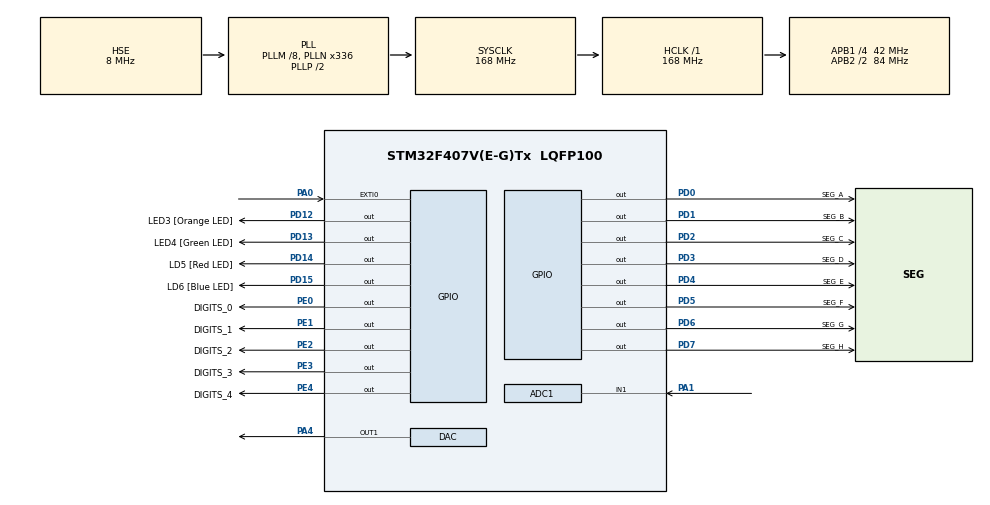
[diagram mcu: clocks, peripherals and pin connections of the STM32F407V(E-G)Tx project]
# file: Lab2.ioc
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ADC1.Channel-12\#ChannelRegularConversion=ADC_CHANNEL_1
ADC1.ClockPrescaler=ADC_CLOCK_SYNC_PCLK_DIV4
ADC1.ContinuousConvMode=DISABLE
ADC1.DMAContinuousRequests=DISABLE
ADC1.DataAlign=ADC_DATAALIGN_RIGHT
ADC1.DiscontinuousConvMode=DISABLE
ADC1.EOCSelection=ADC_EOC_SEQ_CONV
ADC1.EnableAnalogWatchDog=false
ADC1.ExternalTrigConv=ADC_SOFTWARE_START
ADC1.ExternalTrigConvEdge=ADC_EXTERNALTRIGCONVEDGE_NONE
ADC1.InjNumberOfConversion=0
ADC1.NbrOfConversion=1
ADC1.NbrOfConversionFlag=1
ADC1.Rank-12\#ChannelRegularConversion=1
ADC1.Resolution=ADC_RESOLUTION_12B
ADC1.SamplingTime-12\#ChannelRegularConversion=ADC_SAMPLETIME_480CYCLES
ADC1.ScanConvMode=DISABLE
ADC1.master=1
Dma.ADC1.0.Direction=DMA_PERIPH_TO_MEMORY
Dma.ADC1.0.FIFOMode=DMA_FIFOMODE_DISABLE
Dma.ADC1.0.Instance=DMA2_Stream0
Dma.ADC1.0.MemDataAlignment=DMA_MDATAALIGN_WORD
Dma.ADC1.0.MemInc=DMA_MINC_ENABLE
Dma.ADC1.0.Mode=DMA_CIRCULAR
Dma.ADC1.0.PeriphDataAlignment=DMA_PDATAALIGN_WORD
Dma.ADC1.0.PeriphInc=DMA_PINC_DISABLE
Dma.ADC1.0.Priority=DMA_PRIORITY_LOW
Dma.Request0=ADC1
Mcu.Family=STM32F4
Mcu.Name=STM32F407V(E-G)Tx
Mcu.Package=LQFP100
NVIC.ADC_IRQn=true\:0\:0\:false\:false\:true\:true
NVIC.DMA2_Stream0_IRQn=true\:0\:0\:false\:false\:true\:false
NVIC.EXTI0_IRQn=true\:0\:0\:false\:false\:true\:true
NVIC.PriorityGroup=NVIC_PRIORITYGROUP_4
NVIC.TIM2_IRQn=true\:1\:0\:true\:false\:true\:true
PA0-WKUP.Signal=GPXTI0
PA1.Signal=ADCx_IN1
PA4.Signal=COMP_DAC1_group
PD0.GPIO_Label=SEG_A
PD0.GPIO_Speed=GPIO_SPEED_FREQ_HIGH
PD0.PinState=GPIO_PIN_RESET
PD0.Signal=GPIO_Output
PD1.GPIO_Label=SEG_B
PD1.GPIO_Speed=GPIO_SPEED_FREQ_HIGH
PD1.Signal=GPIO_Output
PD12.GPIO_Label=LED3 [Orange LED]
PD12.Signal=GPIO_Output
PD13.GPIO_Label=LED4 [Green LED]
PD13.Signal=GPIO_Output
PD14.GPIO_Label=LD5 [Red LED]
PD14.Signal=GPIO_Output
PD15.GPIO_Label=LD6 [Blue LED]
PD15.Signal=GPIO_Output
PD2.GPIO_Label=SEG_C
PD2.GPIO_Speed=GPIO_SPEED_FREQ_HIGH
PD2.Signal=GPIO_Output
PD3.GPIO_Label=SEG_D
PD3.GPIO_Speed=GPIO_SPEED_FREQ_HIGH
PD3.Signal=GPIO_Output
PD4.GPIO_Label=SEG_E
PD4.GPIO_Speed=GPIO_SPEED_FREQ_HIGH
PD4.Signal=GPIO_Output
PD5.GPIO_Label=SEG_F
PD5.GPIO_Speed=GPIO_SPEED_FREQ_HIGH
PD5.Signal=GPIO_Output
PD6.GPIO_Label=SEG_G
PD6.GPIO_Speed=GPIO_SPEED_FREQ_HIGH
PD6.PinState=GPIO_PIN_RESET
PD6.Signal=GPIO_Output
PD7.GPIO_Label=SEG_H
PD7.GPIO_Speed=GPIO_SPEED_FREQ_HIGH
PD7.Signal=GPIO_Output
PE0.GPIO_Label=DIGITS_0
PE0.GPIO_Speed=GPIO_SPEED_FREQ_HIGH
PE0.PinState=GPIO_PIN_RESET
PE0.Signal=GPIO_Output
PE1.GPIO_Label=DIGITS_1
PE1.GPIO_Speed=GPIO_SPEED_FREQ_HIGH
PE1.Signal=GPIO_Output
PE2.GPIO_Label=DIGITS_2
PE2.GPIO_Speed=GPIO_SPEED_FREQ_HIGH
PE2.Signal=GPIO_Output
PE3.GPIO_Label=DIGITS_3
PE3.GPIO_Speed=GPIO_SPEED_FREQ_HIGH
PE3.Signal=GPIO_Output
PE4.GPIO_Label=DIGITS_4
PE4.GPIO_Speed=GPIO_SPEED_FREQ_HIGH
PE4.Signal=GPIO_Output
PH0-OSC_IN.Mode=HSE-External-Oscillator
PH0-OSC_IN.Signal=RCC_OSC_IN
PH1-OSC_OUT.Mode=HSE-External-Oscillator
PH1-OSC_OUT.Signal=RCC_OSC_OUT
ProjectManager.HeapSize=0x200
ProjectManager.StackSize=0x400
ProjectManager.TargetToolchain=MDK-ARM V5
RCC.48MHZClocksFreq_Value=84000000
RCC.AHBFreq_Value=168000000
RCC.APB1CLKDivider=RCC_HCLK_DIV4
RCC.APB1Freq_Value=42000000
RCC.APB1TimFreq_Value=84000000
RCC.APB2CLKDivider=RCC_HCLK_DIV2
RCC.APB2Freq_Value=84000000
RCC.APB2TimFreq_Value=168000000
RCC.CortexFreq_Value=168000000
RCC.HCLKFreq_Value=168000000
RCC.HSE_VALUE=8000000
RCC.HSI_VALUE=16000000
RCC.LSE_VALUE=32768
RCC.PLLM=8
RCC.PLLN=336
RCC.PLLSourceVirtual=RCC_PLLSOURCE_HSE
RCC.SYSCLKFreq_VALUE=168000000
RCC.SYSCLKSource=RCC_SYSCLKSOURCE_PLLCLK
RCC.VCOOutputFreq_Value=336000000
SH.ADCx_IN1.0=ADC1_IN1,IN1
SH.COMP_DAC1_group.0=DAC_OUT1,DAC_OUT1
TIM2.Period=500
TIM2.Prescaler=40000
VP_TIM2_VS_ClockSourceINT.Mode=Internal
board=Lab2

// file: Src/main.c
/**
  ******************************************************************************
  * @file           : main.c
  * @brief          : Main program body
  ******************************************************************************
  ** This notice applies to any and all portions of this file
  * that are not between comment pairs USER CODE BEGIN and
  * USER CODE END. Other portions of this file, whether
  * inserted by the user or by software development tools
  * are owned by their respective copyright owners.
  *
  * COPYRIGHT(c) 2018 STMicroelectronics
  *
  * Redistribution and use in source and binary forms, with or without modification,
  * are permitted provided that the following conditions are met:
  *   1. Redistributions of source code must retain the above copyright notice,
  *      this list of conditions and the following disclaimer.
  *   2. Redistributions in binary form must reproduce the above copyright notice,
  *      this list of conditions and the following disclaimer in the documentation
  *      and/or other materials provided with the distribution.
  *   3. Neither the name of STMicroelectronics nor the names of its contributors
  *      may be used to endorse or promote products derived from this software
  *      without specific prior written permission.
  *
  * THIS SOFTWARE IS PROVIDED BY THE COPYRIGHT HOLDERS AND CONTRIBUTORS "AS IS"
  * AND ANY EXPRESS OR IMPLIED WARRANTIES, INCLUDING, BUT NOT LIMITED TO, THE
  * IMPLIED WARRANTIES OF MERCHANTABILITY AND FITNESS FOR A PARTICULAR PURPOSE ARE
  * DISCLAIMED. IN NO EVENT SHALL THE COPYRIGHT HOLDER OR CONTRIBUTORS BE LIABLE
  * FOR ANY DIRECT, INDIRECT, INCIDENTAL, SPECIAL, EXEMPLARY, OR CONSEQUENTIAL
  * DAMAGES (INCLUDING, BUT NOT LIMITED TO, PROCUREMENT OF SUBSTITUTE GOODS OR
  * SERVICES; LOSS OF USE, DATA, OR PROFITS; OR BUSINESS INTERRUPTION) HOWEVER
  * CAUSED AND ON ANY THEORY OF LIABILITY, WHETHER IN CONTRACT, STRICT LIABILITY,
  * OR TORT (INCLUDING NEGLIGENCE OR OTHERWISE) ARISING IN ANY WAY OUT OF THE USE
  * OF THIS SOFTWARE, EVEN IF ADVISED OF THE POSSIBILITY OF SUCH DAMAGE.
  *
  ******************************************************************************
  */
#include "main.h"
#include "stm32f4xx_hal.h"

/* USER CODE BEGIN Includes */
#include <stdbool.h>
#ifndef DISPLAY_RMS
#include "heads_up_display.h"
#endif
/* USER CODE END Includes */

ADC_HandleTypeDef hadc1;
DMA_HandleTypeDef hdma_adc1;

DAC_HandleTypeDef hdac;

TIM_HandleTypeDef htim2;

/* USER CODE BEGIN PV */

const int ADC_BUFFER_SIZE = 50;

float filtered_ADCBuffer[ADC_BUFFER_SIZE];

// Buffer that holds Unfiltered data populated with DMA.
static uint32_t ADCBufferDMA[ADC_BUFFER_SIZE];

/* USER CODE END PV */

void SystemClock_Config(void);
static void MX_GPIO_Init(void);
static void MX_DMA_Init(void);
static void MX_DAC_Init(void);
static void MX_ADC1_Init(void);
static void MX_TIM2_Init(void);

/* USER CODE BEGIN PFP */
/* Private function prototypes -----------------------------------------------*/
typedef struct {
	float last_RMS;
	float past_mins[10];
	float past_maxs[10];
} PastResultsVector;

typedef struct {
	float rms;
	float max_value;
	float min_value;
	int max_index;
	int min_index;
} asm_output;

void adc_buffer_full_callback(void);
void FIR_C(int Input, float* Output);
void asm_math(float *inputValues, int size, asm_output *results);

/* USER CODE END PFP */

/* USER CODE BEGIN 0 */

static PastResultsVector past_ten_seconds_results;

float DigitalToAnalogValue(int digital_value){
	float AnalogVal = 3.0*(digital_value)/4095;
	return AnalogVal;
}
/*
This function is called once per second, when the buffer is full.
It should calculate what values should be displayed
*/
void adc_buffer_full_callback()
{
	extern float displayed_value;

	static int head;
	static int tail;

	asm_output last_second_results;
	float min, max, rms;

	int current;
	float temp_max;
	float temp_min;
	float min_last_10_secs;
	float max_last_10_secs;

	asm_math(filtered_ADCBuffer, ADC_BUFFER_SIZE, &last_second_results);
	min = last_second_results.min_value;
	max = last_second_results.max_value;
	rms = last_second_results.rms;

//	printf("Showing RMS: %.3f\n", rms);
//	printf("Showing MIN: %.3f\n", min);
//	printf("Showing MAX: %.3f\n", max);

	head = (head + 1) % 10; // Update the head.
	if(head == tail){ // Update the tail, if necessary.
		tail = (tail + 1) % 10;
	}
	past_ten_seconds_results.past_mins[head] = min; // write the new value in.
	past_ten_seconds_results.past_maxs[head] = max;
	past_ten_seconds_results.last_RMS = rms;

	//We have to calculate the min and max of the last 10 seconds.
	current = tail;
	min_last_10_secs = min;
	max_last_10_secs = max;

	// Loop through the array of past results, and find the min and max.
	while(current != head){
		// Update the Min.
		temp_min = past_ten_seconds_results.past_mins[current];
		min_last_10_secs = (temp_min < min_last_10_secs && temp_min != 0)? temp_min : min_last_10_secs;

		// Update the Max.
		temp_max = past_ten_seconds_results.past_maxs[current];
		max_last_10_secs = (temp_max > max_last_10_secs)? temp_max : max_last_10_secs;
		current = (current + 1) % 10;
	}

	float displayed_value_digital;
	// Update the display with the newly found values.
	switch(display_mode){
		case DISPLAY_RMS:
			// TODO:
			printf("Showing RMS: %.3f\n", rms);
			printf("Showing RMS: %.3f\n", DigitalToAnalogValue(rms));
			displayed_value_digital = rms;
//			displayed_value = 1.11f;
			break;
		case DISPLAY_MIN:
			// TODO:
			printf("Showing MIN: %.3f\n", min_last_10_secs);
		  printf("Showing MIN: %.3f\n", DigitalToAnalogValue(min_last_10_secs));
			displayed_value_digital = min_last_10_secs;
//			displayed_value = 2.22f;

			break;
		case DISPLAY_MAX:
			// TODO:
			printf("Showing MAX: %.3f\n", max_last_10_secs);
		  printf("Showing MAX: %.3f\n", DigitalToAnalogValue(max_last_10_secs));
 			displayed_value_digital = max_last_10_secs;
//			displayed_value = 3.33f;
			break;
	}
	displayed_value = DigitalToAnalogValue(displayed_value_digital);
}

void FIR_C(int Input, float* Output){

	//Idea: use the buffer like a circular queue.
	//- Add the element to the buffer, using the head pointer.
	//- Update tail accordingly
	//- iterate in the buffer, going from head to tail, and add up the results

	// Array of weights
	static float weights[5] = {0.2, 0.2, 0.2, 0.2, 0.2};
	// Buffer that will hold the values as they come in.
	static int buffer[5];
	static int head, tail = 0;

	int i;
	float result = 0.f;
	head = (head + 1) % 5; // Update the head.
	if(head == tail){ // Update the tail, if necessary.
		tail = (tail + 1) % 5;
	}
	buffer[head] = Input; // write the new value in.
	for(i=0; i<5; i++){
		// move backward from 'head' to 'tail', adding up the values.
		result += weights[i] * buffer[(head - i + 5) % 5];
	}
	*Output = result; // place the result at the given location.
}

void HAL_ADC_ConvHalfCpltCallback(ADC_HandleTypeDef* AdcHandle)
{
		//run energy frame over buffer 0 -> size/2
		//place start index when energy threshold is met
		printf("DMA Half CONV COMPLETE\n");
		//Run PCM on 1st half of ADCBuffer..

}

void HAL_ADC_ConvCpltCallback(ADC_HandleTypeDef* AdcHandle)
{
	if(AdcHandle->Instance == ADC1){
		// use the filter on each value in the raw buffer.
		for(int i=0; i < ADC_BUFFER_SIZE; i++){
			FIR_C(ADCBufferDMA[i], &filtered_ADCBuffer[i]);
		}
		adc_buffer_full_callback();
		HAL_ADC_Stop_DMA(&hadc1);
		HAL_ADC_Start_DMA(&hadc1, ADCBufferDMA, ADC_BUFFER_SIZE);
	}

}

/* USER CODE END 0 */

int main(void)
{

  /* MCU Configuration----------------------------------------------------------*/

  /* Reset of all peripherals, Initializes the Flash interface and the Systick. */
  HAL_Init();

  /* Configure the system clock */
  SystemClock_Config();

  /* Initialize all configured peripherals */
  MX_GPIO_Init();
  MX_DMA_Init();
  MX_DAC_Init();
  MX_ADC1_Init();
  MX_TIM2_Init();
  /* USER CODE BEGIN 2 */

	HAL_DAC_SetValue(&hdac, DAC_CHANNEL_1, DAC_ALIGN_12B_R, 2048);
	HAL_DAC_Start(&hdac, DAC_CHANNEL_1);

	HAL_ADC_Start_DMA(&hadc1,ADCBufferDMA, ADC_BUFFER_SIZE);

	SET_PIN(DIGITS_0);
	HAL_GPIO_WritePin(SEG_G_GPIO_Port, SEG_G_Pin, GPIO_PIN_SET);
	HAL_GPIO_WritePin(LED3_GPIO_Port, LED3_Pin, GPIO_PIN_SET);

  /* USER CODE END 2 */

  /* Infinite loop */
  while (1)
  {

  }

}

void SystemClock_Config(void)
{

  RCC_OscInitTypeDef RCC_OscInitStruct;
  RCC_ClkInitTypeDef RCC_ClkInitStruct;

    /**Configure the main internal regulator output voltage
    */
  __HAL_RCC_PWR_CLK_ENABLE();

  __HAL_PWR_VOLTAGESCALING_CONFIG(PWR_REGULATOR_VOLTAGE_SCALE1);

    /**Initializes the CPU, AHB and APB busses clocks
    */
  RCC_OscInitStruct.OscillatorType = RCC_OSCILLATORTYPE_HSE;
  RCC_OscInitStruct.HSEState = RCC_HSE_ON;
  RCC_OscInitStruct.PLL.PLLState = RCC_PLL_ON;
  RCC_OscInitStruct.PLL.PLLSource = RCC_PLLSOURCE_HSE;
  RCC_OscInitStruct.PLL.PLLM = 8;
  RCC_OscInitStruct.PLL.PLLN = 336;
  RCC_OscInitStruct.PLL.PLLP = RCC_PLLP_DIV2;
  RCC_OscInitStruct.PLL.PLLQ = 4;
  if (HAL_RCC_OscConfig(&RCC_OscInitStruct) != HAL_OK)
  {
    _Error_Handler(__FILE__, __LINE__);
  }

    /**Initializes the CPU, AHB and APB busses clocks
    */
  RCC_ClkInitStruct.ClockType = RCC_CLOCKTYPE_HCLK|RCC_CLOCKTYPE_SYSCLK
                              |RCC_CLOCKTYPE_PCLK1|RCC_CLOCKTYPE_PCLK2;
  RCC_ClkInitStruct.SYSCLKSource = RCC_SYSCLKSOURCE_PLLCLK;
  RCC_ClkInitStruct.AHBCLKDivider = RCC_SYSCLK_DIV1;
  RCC_ClkInitStruct.APB1CLKDivider = RCC_HCLK_DIV4;
  RCC_ClkInitStruct.APB2CLKDivider = RCC_HCLK_DIV2;

  if (HAL_RCC_ClockConfig(&RCC_ClkInitStruct, FLASH_LATENCY_5) != HAL_OK)
  {
    _Error_Handler(__FILE__, __LINE__);
  }

    /**Configure the Systick interrupt time
    */
  HAL_SYSTICK_Config(HAL_RCC_GetHCLKFreq()/1000);

    /**Configure the Systick
    */
  HAL_SYSTICK_CLKSourceConfig(SYSTICK_CLKSOURCE_HCLK);

  /* SysTick_IRQn interrupt configuration */
  HAL_NVIC_SetPriority(SysTick_IRQn, 0, 0);
}

/* ADC1 init function */
static void MX_ADC1_Init(void)
{

  ADC_ChannelConfTypeDef sConfig;

    /**Configure the global features of the ADC (Clock, Resolution, Data Alignment and number of conversion)
    */
  hadc1.Instance = ADC1;
  hadc1.Init.ClockPrescaler = ADC_CLOCK_SYNC_PCLK_DIV4;
  hadc1.Init.Resolution = ADC_RESOLUTION_12B;
  hadc1.Init.ScanConvMode = DISABLE;
  hadc1.Init.ContinuousConvMode = DISABLE;
  hadc1.Init.DiscontinuousConvMode = DISABLE;
  hadc1.Init.ExternalTrigConvEdge = ADC_EXTERNALTRIGCONVEDGE_NONE;
  hadc1.Init.ExternalTrigConv = ADC_SOFTWARE_START;
  hadc1.Init.DataAlign = ADC_DATAALIGN_RIGHT;
  hadc1.Init.NbrOfConversion = 1;
  hadc1.Init.DMAContinuousRequests = DISABLE;
  hadc1.Init.EOCSelection = ADC_EOC_SEQ_CONV;
  if (HAL_ADC_Init(&hadc1) != HAL_OK)
  {
    _Error_Handler(__FILE__, __LINE__);
  }

    /**Configure for the selected ADC regular channel its corresponding rank in the sequencer and its sample time.
    */
  sConfig.Channel = ADC_CHANNEL_1;
  sConfig.Rank = 1;
  sConfig.SamplingTime = ADC_SAMPLETIME_480CYCLES;
  if (HAL_ADC_ConfigChannel(&hadc1, &sConfig) != HAL_OK)
  {
    _Error_Handler(__FILE__, __LINE__);
  }

}

/* DAC init function */
static void MX_DAC_Init(void)
{

  DAC_ChannelConfTypeDef sConfig;

    /**DAC Initialization
    */
  hdac.Instance = DAC;
  if (HAL_DAC_Init(&hdac) != HAL_OK)
  {
    _Error_Handler(__FILE__, __LINE__);
  }

    /**DAC channel OUT1 config
    */
  sConfig.DAC_Trigger = DAC_TRIGGER_NONE;
  sConfig.DAC_OutputBuffer = DAC_OUTPUTBUFFER_ENABLE;
  if (HAL_DAC_ConfigChannel(&hdac, &sConfig, DAC_CHANNEL_1) != HAL_OK)
  {
    _Error_Handler(__FILE__, __LINE__);
  }

}

/* TIM2 init function */
static void MX_TIM2_Init(void)
{

  TIM_ClockConfigTypeDef sClockSourceConfig;
  TIM_MasterConfigTypeDef sMasterConfig;

  htim2.Instance = TIM2;
  htim2.Init.Prescaler = 40000;
  htim2.Init.CounterMode = TIM_COUNTERMODE_UP;
  htim2.Init.Period = 500;
  htim2.Init.ClockDivision = TIM_CLOCKDIVISION_DIV1;
  if (HAL_TIM_Base_Init(&htim2) != HAL_OK)
  {
    _Error_Handler(__FILE__, __LINE__);
  }

  sClockSourceConfig.ClockSource = TIM_CLOCKSOURCE_INTERNAL;
  if (HAL_TIM_ConfigClockSource(&htim2, &sClockSourceConfig) != HAL_OK)
  {
    _Error_Handler(__FILE__, __LINE__);
  }

  sMasterConfig.MasterOutputTrigger = TIM_TRGO_RESET;
  sMasterConfig.MasterSlaveMode = TIM_MASTERSLAVEMODE_DISABLE;
  if (HAL_TIMEx_MasterConfigSynchronization(&htim2, &sMasterConfig) != HAL_OK)
  {
    _Error_Handler(__FILE__, __LINE__);
  }

}

static void MX_DMA_Init(void)
{
  /* DMA controller clock enable */
  __HAL_RCC_DMA2_CLK_ENABLE();

  /* DMA interrupt init */
  /* DMA2_Stream0_IRQn interrupt configuration */
  HAL_NVIC_SetPriority(DMA2_Stream0_IRQn, 0, 0);
  HAL_NVIC_EnableIRQ(DMA2_Stream0_IRQn);

}

/** Configure pins as
        * Analog
        * Input
        * Output
        * EVENT_OUT
        * EXTI
*/
static void MX_GPIO_Init(void)
{

  GPIO_InitTypeDef GPIO_InitStruct;

  /* GPIO Ports Clock Enable */
  __HAL_RCC_GPIOE_CLK_ENABLE();
  __HAL_RCC_GPIOH_CLK_ENABLE();
  __HAL_RCC_GPIOA_CLK_ENABLE();
  __HAL_RCC_GPIOD_CLK_ENABLE();

  /*Configure GPIO pin Output Level */
  HAL_GPIO_WritePin(GPIOE, DIGITS_2_Pin|DIGITS_3_Pin|DIGITS_4_Pin|DIGITS_0_Pin
                          |DIGITS_1_Pin, GPIO_PIN_RESET);

  /*Configure GPIO pin Output Level */
  HAL_GPIO_WritePin(GPIOD, LED3_Pin|LED4_Pin|LD5_Pin|LD6_Pin
                          |SEG_A_Pin|SEG_B_Pin|SEG_C_Pin|SEG_D_Pin
                          |SEG_E_Pin|SEG_F_Pin|SEG_G_Pin|SEG_H_Pin, GPIO_PIN_RESET);

  /*Configure GPIO pins : DIGITS_2_Pin DIGITS_3_Pin DIGITS_4_Pin DIGITS_0_Pin
                           DIGITS_1_Pin */
  GPIO_InitStruct.Pin = DIGITS_2_Pin|DIGITS_3_Pin|DIGITS_4_Pin|DIGITS_0_Pin
                          |DIGITS_1_Pin;
  GPIO_InitStruct.Mode = GPIO_MODE_OUTPUT_PP;
  GPIO_InitStruct.Pull = GPIO_NOPULL;
  GPIO_InitStruct.Speed = GPIO_SPEED_FREQ_HIGH;
  HAL_GPIO_Init(GPIOE, &GPIO_InitStruct);

  /*Configure GPIO pin : PA0 */
  GPIO_InitStruct.Pin = GPIO_PIN_0;
  GPIO_InitStruct.Mode = GPIO_MODE_IT_RISING;
  GPIO_InitStruct.Pull = GPIO_NOPULL;
  HAL_GPIO_Init(GPIOA, &GPIO_InitStruct);

  /*Configure GPIO pins : LED3_Pin LED4_Pin LD5_Pin LD6_Pin */
  GPIO_InitStruct.Pin = LED3_Pin|LED4_Pin|LD5_Pin|LD6_Pin;
  GPIO_InitStruct.Mode = GPIO_MODE_OUTPUT_PP;
  GPIO_InitStruct.Pull = GPIO_NOPULL;
  GPIO_InitStruct.Speed = GPIO_SPEED_FREQ_LOW;
  HAL_GPIO_Init(GPIOD, &GPIO_InitStruct);

  /*Configure GPIO pins : SEG_A_Pin SEG_B_Pin SEG_C_Pin SEG_D_Pin
                           SEG_E_Pin SEG_F_Pin SEG_G_Pin SEG_H_Pin */
  GPIO_InitStruct.Pin = SEG_A_Pin|SEG_B_Pin|SEG_C_Pin|SEG_D_Pin
                          |SEG_E_Pin|SEG_F_Pin|SEG_G_Pin|SEG_H_Pin;
  GPIO_InitStruct.Mode = GPIO_MODE_OUTPUT_PP;
  GPIO_InitStruct.Pull = GPIO_NOPULL;
  GPIO_InitStruct.Speed = GPIO_SPEED_FREQ_HIGH;
  HAL_GPIO_Init(GPIOD, &GPIO_InitStruct);

  /* EXTI interrupt init*/
  HAL_NVIC_SetPriority(EXTI0_IRQn, 0, 0);
  HAL_NVIC_EnableIRQ(EXTI0_IRQn);

}

void _Error_Handler(char *file, int line)
{
  while(1)
  {
  }
}

/************************ (C) COPYRIGHT STMicroelectronics *****END OF FILE****/
